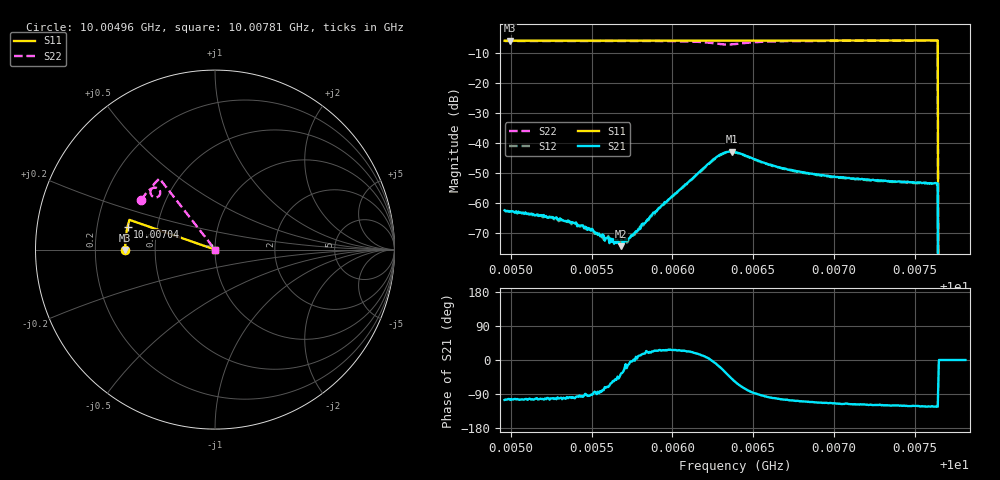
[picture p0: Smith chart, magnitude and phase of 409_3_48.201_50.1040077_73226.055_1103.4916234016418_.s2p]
#  HZ  S  RI  R  50.00
! Rohde & Schwarz Vector Network Analyzer
! Rohde-Schwarz,ZNB20-2Port,1311601062101988,3.16
! Created: UTC 3/20/2024, 11:54:22 AM
! freq[Hz]  re:S11  im:S11  re:S21  im:S21  re:S12  im:S12  re:S22  im:S22
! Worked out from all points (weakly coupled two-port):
!   401 points, 10.00496 GHz to 10.00781 GHz, reference 50 ohm
!   highest |S21| = -42.94 dB at 10.00637 GHz (marker M1); lowest = -74.5 dB at 10.00568 GHz (marker M2)
!   lowest |S11| = -6.0 dB at 10.005 GHz (marker M3), VSWR 3.00, Z = 16.7 - j0.112 ohm
!   |S11| at or under -10 dB: 10.00764 GHz to end of sweep
!   |S22| runs from - to -6.0 dB; largest |S21 - S12| = 0.00042
!   S11 on the Smith chart (normalised r, x): 10.00496 GHz: 0.33, -0.00; 10.00704 GHz: 0.33, +0.12; 10.00781 GHz: 1.00, +0.00
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1.0004962e10  -0.4996 -0.00487  -0.000198 -0.000722  -0.000126 -0.000698  -0.4108 0.2752
1.0004997e10  -0.4995 -0.00253  -0.00019 -0.000688  -0.000126 -0.00071  -0.4094 0.2773
1.0005247e10  -0.5 0.0137  -0.000109 -0.00056  -9.23e-05 -0.000565  -0.4 0.2921
1.0005439e10  -0.5 0.0262  -3.98e-05 -0.000417  1.15e-05 -0.000399  -0.392 0.3034
1.0005496e10  -0.4998 0.03  -9.31e-06 -0.000342  5.28e-06 -0.000365  -0.3893 0.3069
1.0005582e10  -0.4994 0.0355  7.53e-05 -0.000223  8.84e-05 -0.000216  -0.3852 0.3123
1.000561e10  -0.4994 0.0375  8.14e-05 -0.000196  9.66e-05 -0.000217  -0.3839 0.3139
1.0005682e10  -0.4993 0.0418  0.000153 -0.000111  0.000184 -0.000154  -0.3801 0.3182
1.000571e10  -0.4991 0.0437  0.000232 -4.52e-05  0.000247 -5.25e-05  -0.3785 0.3201
1.0005767e10  -0.4989 0.0475  0.000315 -9.16e-06  0.000292 4.27e-05  -0.3753 0.3238
1.0005917e10  -0.4981 0.0572  0.000742 0.000364  0.000704 0.000377  -0.3646 0.3334
1.0006266e10  -0.4952 0.0796  0.00549 -0.000828  0.00542 -0.00054  -0.3078 0.3288
1.0006316e10  -0.4948 0.0826  0.00597 -0.00312  0.006 -0.00272  -0.3064 0.3083
1.0006366e10  -0.4943 0.0854  0.00467 -0.00538  0.00485 -0.00502  -0.3212 0.2925
1.0006388e10  -0.4942 0.0868  0.00378 -0.00587  0.00403 -0.00554  -0.3299 0.2905
1.000663e10  -0.4922 0.1023  -0.000741 -0.00404  -0.000539 -0.00398  -0.3588 0.3297
1.0006865e10  -0.4895 0.1172  -0.00109 -0.00285  -0.000952 -0.00281  -0.3486 0.3526
1.0007037e10  -0.4872 0.1281  -0.00114 -0.00239  -0.00099 -0.00243  -0.34 0.3643
1.0007343e10  -0.4823 0.1473  -0.00113 -0.00197  -0.001 -0.00201  -0.3246 0.3815
1.0007628e10  -0.4773 0.1649  -0.00116 -0.00179  -0.00104 -0.00177  -0.3101 0.3953
1.0007664e10  0 0  0 0  0 0  0 0
1.0007814e10  0 0  0 0  0 0  0 0
